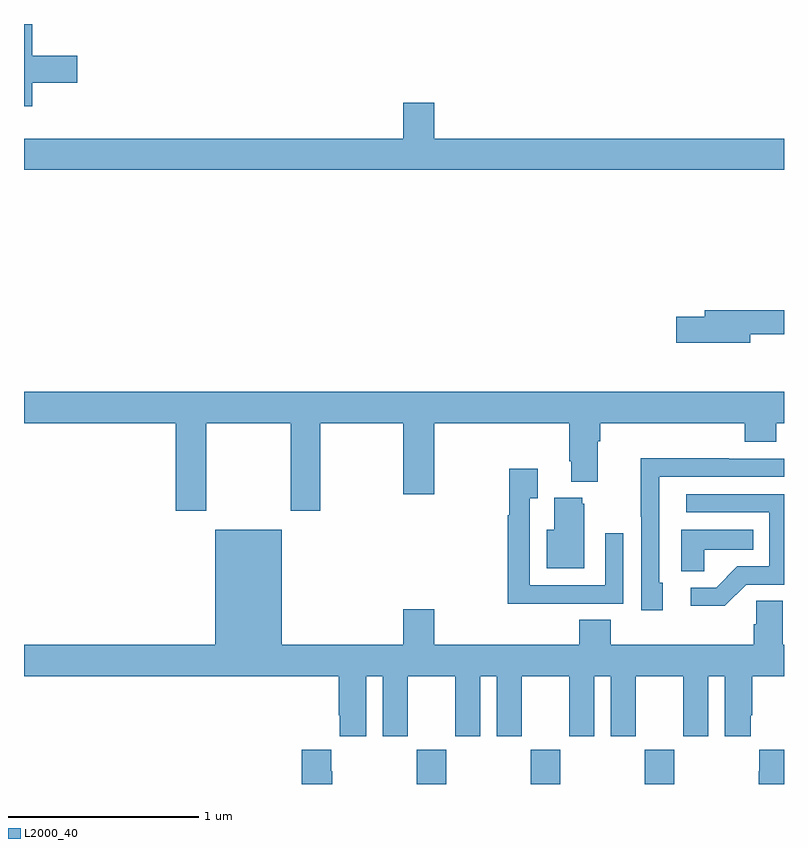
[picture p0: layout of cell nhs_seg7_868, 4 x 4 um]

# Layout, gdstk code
import gdstk
lib = gdstk.Library(unit=1e-6, precision=1e-09)
def R(c, l, rs):  # rectangles x0, y0, x1, y1
    for r in rs: c.add(gdstk.rectangle(r[:2], r[2:], *l))
def A(c, l, x, y, w, h, nx, ny, dx, dy):  # array of equal rectangles
    R(c, l, [(x+i*dx, y+j*dy, x+i*dx+w, y+j*dy+h) for i in range(nx) for j in range(ny)])
def P(c, l, *ps):  # polygons
    for p in ps: c.add(gdstk.Polygon(p, *l))
L2000_40 = (2000, 40)

nhs_seg7_868 = lib.new_cell('nhs_seg7_868')
A(nhs_seg7_868, L2000_40, 177.067, 1048, 0.155, 0.18, 3, 1, 0.6, 0)
P(nhs_seg7_868, L2000_40, [(175.043,1051.69),(175.279,1051.69),(175.279,1051.832),(175.043,1051.832),(175.043,1052),(175,1052),(175,1051.566),(175.043,1051.566)],
  [(179,1051.396),(177.16,1051.396),(177.16,1051.585),(176.996,1051.585),(176.996,1051.396),(175,1051.396),(175,1051.232),(179,1051.232)],
  [(178.822,1050.366),(179,1050.366),(179,1050.494),(178.583,1050.494),(178.583,1050.458),(178.434,1050.458),(178.434,1050.323),(178.822,1050.323)],
  [(175.959,1049.9),(176.404,1049.9),(176.404,1049.439),(176.559,1049.439),(176.559,1049.9),(176.996,1049.9),(176.996,1049.526),(177.16,1049.526),(177.16,1049.9),(177.869,1049.9),(177.869,1049.698),(177.881,1049.698),(177.881,1049.591),(178.021,1049.591),(178.021,1049.804),(178.034,1049.804),(178.034,1049.9),(178.793,1049.9),(178.793,1049.801),(178.958,1049.801),(178.958,1049.9),(179,1049.9),(179,1050.064),(175,1050.064),(175,1049.9),(175.799,1049.9),(175.799,1049.439),(175.959,1049.439)],
  [(178.363,1049.058),(178.344,1049.058),(178.344,1049.616),(179,1049.616),(179,1049.712),(178.709,1049.712),(178.709,1049.714),(178.246,1049.714),(178.246,1049.407),(178.248,1049.407),(178.248,1048.914),(178.363,1048.914)],
  [(177.839,1048.95),(178.155,1048.95),(178.155,1049.32),(178.059,1049.32),(178.059,1049.046),(177.663,1049.046),(177.663,1049.503),(177.703,1049.503),(177.703,1049.659),(177.555,1049.659),(177.555,1049.414),(177.547,1049.414),(177.547,1048.949),(177.839,1048.949)],
  [(178.8,1049.049),(179,1049.049),(179,1049.526),(178.485,1049.526),(178.485,1049.43),(178.923,1049.43),(178.923,1049.145),(178.754,1049.145),(178.643,1049.034),(178.509,1049.034),(178.509,1048.937),(178.687,1048.937)],
  [(177.949,1049.475),(177.938,1049.475),(177.938,1049.506),(177.791,1049.506),(177.791,1049.338),(177.752,1049.338),(177.752,1049.135),(177.949,1049.135)],
  [(178.581,1049.234),(178.838,1049.234),(178.838,1049.338),(178.46,1049.338),(178.46,1049.119),(178.581,1049.119)],
  [(176.8,1048.568),(176.888,1048.568),(176.888,1048.251),(177.019,1048.251),(177.019,1048.568),(177.269,1048.568),(177.269,1048.251),(177.4,1048.251),(177.4,1048.568),(177.488,1048.568),(177.488,1048.251),(177.619,1048.251),(177.619,1048.568),(177.869,1048.568),(177.869,1048.251),(178,1048.251),(178,1048.568),(178.088,1048.568),(178.088,1048.251),(178.219,1048.251),(178.219,1048.568),(178.469,1048.568),(178.469,1048.251),(178.6,1048.251),(178.6,1048.568),(178.688,1048.568),(178.688,1048.251),(178.825,1048.251),(178.825,1048.363),(178.832,1048.363),(178.832,1048.568),(179,1048.568),(179,1048.732),(178.993,1048.732),(178.993,1048.964),(178.854,1048.964),(178.854,1048.841),(178.841,1048.841),(178.841,1048.732),(178.088,1048.732),(178.088,1048.865),(177.923,1048.865),(177.923,1048.732),(177.16,1048.732),(177.16,1048.921),(176.996,1048.921),(176.996,1048.732),(176.356,1048.732),(176.356,1049.338),(176.006,1049.338),(176.006,1048.732),(175,1048.732),(175,1048.568),(176.657,1048.568),(176.657,1048.363),(176.663,1048.363),(176.663,1048.251),(176.8,1048.251)],
  [(179,1048.18),(178.871,1048.18),(178.871,1048.067),(178.867,1048.067),(178.867,1048),(179,1048)],
  [(176.622,1048.067),(176.617,1048.067),(176.617,1048.18),(176.462,1048.18),(176.462,1048),(176.622,1048)])

lib.write_gds('nhs_seg7_868.gds')
